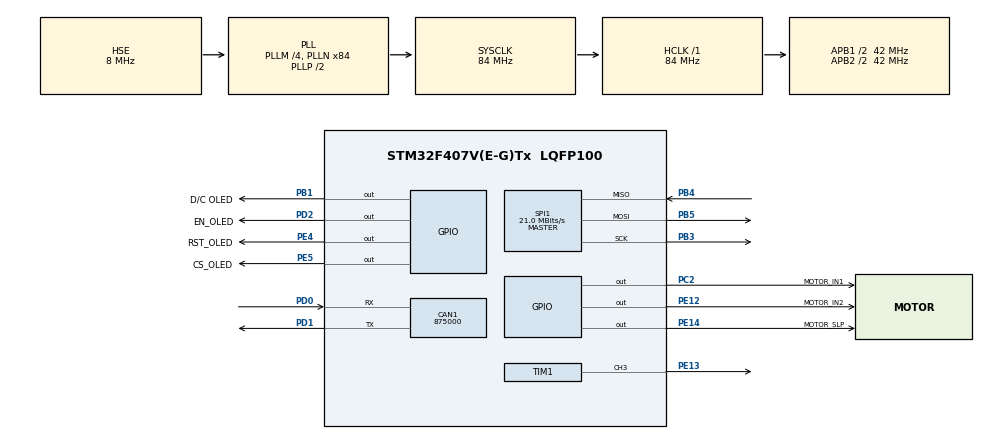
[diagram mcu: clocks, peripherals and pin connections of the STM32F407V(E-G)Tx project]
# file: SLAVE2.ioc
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CAN1.CalculateBaudRate=875000
CAN1.CalculateTimeBit=1142
CAN1.CalculateTimeQuantum=380.95238095238096
Mcu.Family=STM32F4
Mcu.Name=STM32F407V(E-G)Tx
Mcu.Package=LQFP100
NVIC.CAN1_RX0_IRQn=true\:0\:0\:false\:false\:true\:true\:true\:true
NVIC.PriorityGroup=NVIC_PRIORITYGROUP_4
PA13.Mode=Serial_Wire
PA13.Signal=SYS_JTMS-SWDIO
PA14.Mode=Serial_Wire
PA14.Signal=SYS_JTCK-SWCLK
PB1.GPIO_Label=D/C OLED
PB1.Signal=GPIO_Output
PB3.Mode=Full_Duplex_Master
PB3.Signal=SPI1_SCK
PB4.Mode=Full_Duplex_Master
PB4.Signal=SPI1_MISO
PB5.Mode=Full_Duplex_Master
PB5.Signal=SPI1_MOSI
PC2.GPIO_Label=MOTOR_IN1
PC2.GPIO_Speed=GPIO_SPEED_FREQ_VERY_HIGH
PC2.Signal=GPIO_Output
PD0.Mode=CAN_Activate
PD0.Signal=CAN1_RX
PD1.Mode=CAN_Activate
PD1.Signal=CAN1_TX
PD2.GPIO_Label=EN_OLED
PD2.Signal=GPIO_Output
PE12.GPIO_Label=MOTOR_IN2
PE12.GPIO_Speed=GPIO_SPEED_FREQ_VERY_HIGH
PE12.Signal=GPIO_Output
PE13.Signal=S_TIM1_CH3
PE14.GPIO_Label=MOTOR_SLP
PE14.GPIO_Speed=GPIO_SPEED_FREQ_VERY_HIGH
PE14.PinState=GPIO_PIN_RESET
PE14.Signal=GPIO_Output
PE4.GPIO_Label=RST_OLED
PE4.Signal=GPIO_Output
PE5.GPIO_Label=CS_OLED
PE5.Signal=GPIO_Output
PH0-OSC_IN.Mode=HSE-External-Oscillator
PH0-OSC_IN.Signal=RCC_OSC_IN
PH1-OSC_OUT.Mode=HSE-External-Oscillator
PH1-OSC_OUT.Signal=RCC_OSC_OUT
ProjectManager.HeapSize=0x200
ProjectManager.StackSize=0x400
ProjectManager.TargetToolchain=STM32CubeIDE
RCC.48MHZClocksFreq_Value=42000000
RCC.AHBFreq_Value=84000000
RCC.APB1CLKDivider=RCC_HCLK_DIV2
RCC.APB1Freq_Value=42000000
RCC.APB1TimFreq_Value=84000000
RCC.APB2CLKDivider=RCC_HCLK_DIV2
RCC.APB2Freq_Value=42000000
RCC.APB2TimFreq_Value=84000000
RCC.CortexFreq_Value=84000000
RCC.HCLKFreq_Value=84000000
RCC.HSE_VALUE=8000000
RCC.HSI_VALUE=16000000
RCC.LSE_VALUE=32768
RCC.PLLM=4
RCC.PLLN=84
RCC.PLLSourceVirtual=RCC_PLLSOURCE_HSE
RCC.SYSCLKFreq_VALUE=84000000
RCC.SYSCLKSource=RCC_SYSCLKSOURCE_PLLCLK
RCC.VCOOutputFreq_Value=168000000
SH.S_TIM1_CH3.0=TIM1_CH3,PWM Generation3 CH3
SPI1.CLKPhase=SPI_PHASE_2EDGE
SPI1.CLKPolarity=SPI_POLARITY_HIGH
SPI1.CalculateBaudRate=21.0 MBits/s
SPI1.Direction=SPI_DIRECTION_2LINES
SPI1.Mode=SPI_MODE_MASTER
SPI1.VirtualType=VM_MASTER
TIM1.AutoReloadPreload=TIM_AUTORELOAD_PRELOAD_ENABLE
TIM1.Channel-PWM\ Generation3\ CH3=TIM_CHANNEL_3
TIM1.Period=49
TIM1.Prescaler=83
VP_TIM1_VS_ClockSourceINT.Mode=Internal
board=custom

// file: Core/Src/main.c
/* USER CODE BEGIN Header */
/**
  ******************************************************************************
  * @file           : main.c
  * @brief          : Main program body
  ******************************************************************************
  * @attention
  *
  * Copyright (c) 2025 STMicroelectronics.
  * All rights reserved.
  *
  * This software is licensed under terms that can be found in the LICENSE file
  * in the root directory of this software component.
  * If no LICENSE file comes with this software, it is provided AS-IS.
  *
  ******************************************************************************
  */
/* USER CODE END Header */
#include "main.h"

/* USER CODE BEGIN PD */
#define CAN_ID_CURRENT 0x123
#define CAN_ID_SPEED   0x124

#define BLACK   0x0000
#define WHITE   0xFFFF
#define RED     0xF800
#define GREEN   0x07E0
#define BLUE    0x001F
#define YELLOW  0xFFE0
/* USER CODE END PD */

CAN_HandleTypeDef hcan1;

SPI_HandleTypeDef hspi1;

TIM_HandleTypeDef htim1;

/* USER CODE BEGIN PV */
volatile int16_t g_current_mA = 0;
volatile uint8_t g_motor_speed_percent = 0;
volatile _Bool g_update_display_flag = 0;
/* USER CODE END PV */

void SystemClock_Config(void);
static void MX_GPIO_Init(void);
static void MX_CAN1_Init(void);
static void MX_SPI1_Init(void);
static void MX_TIM1_Init(void);
/* USER CODE BEGIN PFP */
void Update_OLED_Display(void);
static void CAN_Filter_Config(void);
/* USER CODE END PFP */

int main(void)
{

  /* MCU Configuration--------------------------------------------------------*/

  /* Reset of all peripherals, Initializes the Flash interface and the Systick. */
  HAL_Init();

  /* Configure the system clock */
  SystemClock_Config();

  /* Initialize all configured peripherals */
  MX_GPIO_Init();
  MX_CAN1_Init();
  MX_SPI1_Init();
  MX_TIM1_Init();
  /* USER CODE BEGIN 2 */
  // --- Iniciar Periféricos ---
  HAL_TIM_PWM_Start(&htim1, TIM_CHANNEL_3);
  CAN_Filter_Config();
  HAL_CAN_Start(&hcan1);
  HAL_CAN_ActivateNotification(&hcan1, CAN_IT_RX_FIFO0_MSG_PENDING);

  // --- Activar Driver y Pantalla ---
  HAL_GPIO_WritePin(EN_OLED_GPIO_Port, EN_OLED_Pin, GPIO_PIN_SET);
  HAL_GPIO_WritePin(MOTOR_SLP_GPIO_Port, MOTOR_SLP_Pin, GPIO_PIN_SET);
  HAL_GPIO_WritePin(MOTOR_IN1_GPIO_Port, MOTOR_IN1_Pin, GPIO_PIN_SET);
  HAL_GPIO_WritePin(MOTOR_IN2_GPIO_Port, MOTOR_IN2_Pin, GPIO_PIN_RESET);

  // --- Inicializar Pantalla ---
  SSD1351_Init();
  SSD1351_Clear();
  SSD1351_DrawText(5, 50, "ESCLAVO LISTO", YELLOW, BLACK, 1);
  SSD1351_DrawText(15, 65, "Esperando CAN...", WHITE, BLACK, 1);
  HAL_Delay(1500);
  /* USER CODE END 2 */

  /* Infinite loop */
  while (1)
  {

    /* USER CODE BEGIN 3 */
    if (g_update_display_flag)
    {
        Update_OLED_Display();
        g_update_display_flag = 0;
    }
  }
  /* USER CODE END 3 */
}

void SystemClock_Config(void)
{
  RCC_OscInitTypeDef RCC_OscInitStruct = {0};
  RCC_ClkInitTypeDef RCC_ClkInitStruct = {0};

  /** Configure the main internal regulator output voltage
  */
  __HAL_RCC_PWR_CLK_ENABLE();
  __HAL_PWR_VOLTAGESCALING_CONFIG(PWR_REGULATOR_VOLTAGE_SCALE1);

  /** Initializes the RCC Oscillators according to the specified parameters
  * in the RCC_OscInitTypeDef structure.
  */
  RCC_OscInitStruct.OscillatorType = RCC_OSCILLATORTYPE_HSE;
  RCC_OscInitStruct.HSEState = RCC_HSE_ON;
  RCC_OscInitStruct.PLL.PLLState = RCC_PLL_ON;
  RCC_OscInitStruct.PLL.PLLSource = RCC_PLLSOURCE_HSE;
  RCC_OscInitStruct.PLL.PLLM = 4;
  RCC_OscInitStruct.PLL.PLLN = 84;
  RCC_OscInitStruct.PLL.PLLP = RCC_PLLP_DIV2;
  RCC_OscInitStruct.PLL.PLLQ = 4;
  if (HAL_RCC_OscConfig(&RCC_OscInitStruct) != HAL_OK)
  {
    Error_Handler();
  }

  /** Initializes the CPU, AHB and APB buses clocks
  */
  RCC_ClkInitStruct.ClockType = RCC_CLOCKTYPE_HCLK|RCC_CLOCKTYPE_SYSCLK
                              |RCC_CLOCKTYPE_PCLK1|RCC_CLOCKTYPE_PCLK2;
  RCC_ClkInitStruct.SYSCLKSource = RCC_SYSCLKSOURCE_PLLCLK;
  RCC_ClkInitStruct.AHBCLKDivider = RCC_SYSCLK_DIV1;
  RCC_ClkInitStruct.APB1CLKDivider = RCC_HCLK_DIV2;
  RCC_ClkInitStruct.APB2CLKDivider = RCC_HCLK_DIV2;

  if (HAL_RCC_ClockConfig(&RCC_ClkInitStruct, FLASH_LATENCY_2) != HAL_OK)
  {
    Error_Handler();
  }
}

static void MX_CAN1_Init(void)
{

	  hcan1.Instance = CAN1;
	  hcan1.Init.Prescaler = 12;
	  hcan1.Init.Mode = CAN_MODE_NORMAL;
	  hcan1.Init.SyncJumpWidth = CAN_SJW_1TQ;
	  hcan1.Init.TimeSeg1 = CAN_BS1_11TQ;
	  hcan1.Init.TimeSeg2 = CAN_BS2_2TQ;
  hcan1.Init.TimeTriggeredMode = DISABLE;
  hcan1.Init.AutoBusOff = DISABLE;
  hcan1.Init.AutoWakeUp = DISABLE;
  hcan1.Init.AutoRetransmission = DISABLE;
  hcan1.Init.ReceiveFifoLocked = DISABLE;
  hcan1.Init.TransmitFifoPriority = DISABLE;
  if (HAL_CAN_Init(&hcan1) != HAL_OK)
  {
    Error_Handler();
  }

}

static void MX_SPI1_Init(void)
{

  /* SPI1 parameter configuration*/
  hspi1.Instance = SPI1;
  hspi1.Init.Mode = SPI_MODE_MASTER;
  hspi1.Init.Direction = SPI_DIRECTION_2LINES;
  hspi1.Init.DataSize = SPI_DATASIZE_8BIT;
  hspi1.Init.CLKPolarity = SPI_POLARITY_HIGH;
  hspi1.Init.CLKPhase = SPI_PHASE_2EDGE;
  hspi1.Init.NSS = SPI_NSS_SOFT;
  hspi1.Init.BaudRatePrescaler = SPI_BAUDRATEPRESCALER_2;
  hspi1.Init.FirstBit = SPI_FIRSTBIT_MSB;
  hspi1.Init.TIMode = SPI_TIMODE_DISABLE;
  hspi1.Init.CRCCalculation = SPI_CRCCALCULATION_DISABLE;
  hspi1.Init.CRCPolynomial = 10;
  if (HAL_SPI_Init(&hspi1) != HAL_OK)
  {
    Error_Handler();
  }

}

static void MX_TIM1_Init(void)
{

  TIM_ClockConfigTypeDef sClockSourceConfig = {0};
  TIM_MasterConfigTypeDef sMasterConfig = {0};
  TIM_OC_InitTypeDef sConfigOC = {0};
  TIM_BreakDeadTimeConfigTypeDef sBreakDeadTimeConfig = {0};

  htim1.Instance = TIM1;
  htim1.Init.Prescaler = 83;
  htim1.Init.CounterMode = TIM_COUNTERMODE_UP;
  htim1.Init.Period = 49;
  htim1.Init.ClockDivision = TIM_CLOCKDIVISION_DIV1;
  htim1.Init.RepetitionCounter = 0;
  htim1.Init.AutoReloadPreload = TIM_AUTORELOAD_PRELOAD_ENABLE;
  if (HAL_TIM_Base_Init(&htim1) != HAL_OK)
  {
    Error_Handler();
  }
  sClockSourceConfig.ClockSource = TIM_CLOCKSOURCE_INTERNAL;
  if (HAL_TIM_ConfigClockSource(&htim1, &sClockSourceConfig) != HAL_OK)
  {
    Error_Handler();
  }
  if (HAL_TIM_PWM_Init(&htim1) != HAL_OK)
  {
    Error_Handler();
  }
  sMasterConfig.MasterOutputTrigger = TIM_TRGO_RESET;
  sMasterConfig.MasterSlaveMode = TIM_MASTERSLAVEMODE_DISABLE;
  if (HAL_TIMEx_MasterConfigSynchronization(&htim1, &sMasterConfig) != HAL_OK)
  {
    Error_Handler();
  }
  sConfigOC.OCMode = TIM_OCMODE_PWM1;
  sConfigOC.Pulse = 0;
  sConfigOC.OCPolarity = TIM_OCPOLARITY_HIGH;
  sConfigOC.OCNPolarity = TIM_OCNPOLARITY_HIGH;
  sConfigOC.OCFastMode = TIM_OCFAST_DISABLE;
  sConfigOC.OCIdleState = TIM_OCIDLESTATE_RESET;
  sConfigOC.OCNIdleState = TIM_OCNIDLESTATE_RESET;
  if (HAL_TIM_PWM_ConfigChannel(&htim1, &sConfigOC, TIM_CHANNEL_3) != HAL_OK)
  {
    Error_Handler();
  }
  sBreakDeadTimeConfig.OffStateRunMode = TIM_OSSR_DISABLE;
  sBreakDeadTimeConfig.OffStateIDLEMode = TIM_OSSI_DISABLE;
  sBreakDeadTimeConfig.LockLevel = TIM_LOCKLEVEL_OFF;
  sBreakDeadTimeConfig.DeadTime = 0;
  sBreakDeadTimeConfig.BreakState = TIM_BREAK_DISABLE;
  sBreakDeadTimeConfig.BreakPolarity = TIM_BREAKPOLARITY_HIGH;
  sBreakDeadTimeConfig.AutomaticOutput = TIM_AUTOMATICOUTPUT_DISABLE;
  if (HAL_TIMEx_ConfigBreakDeadTime(&htim1, &sBreakDeadTimeConfig) != HAL_OK)
  {
    Error_Handler();
  }
  HAL_TIM_MspPostInit(&htim1);

}

static void MX_GPIO_Init(void)
{
  GPIO_InitTypeDef GPIO_InitStruct = {0};

  /* GPIO Ports Clock Enable */
  __HAL_RCC_GPIOE_CLK_ENABLE();
  __HAL_RCC_GPIOH_CLK_ENABLE();
  __HAL_RCC_GPIOC_CLK_ENABLE();
  __HAL_RCC_GPIOB_CLK_ENABLE();
  __HAL_RCC_GPIOA_CLK_ENABLE();
  __HAL_RCC_GPIOD_CLK_ENABLE();

  /*Configure GPIO pin Output Level */
  HAL_GPIO_WritePin(GPIOE, RST_OLED_Pin|CS_OLED_Pin|MOTOR_IN2_Pin|MOTOR_SLP_Pin, GPIO_PIN_RESET);

  /*Configure GPIO pin Output Level */
  HAL_GPIO_WritePin(MOTOR_IN1_GPIO_Port, MOTOR_IN1_Pin, GPIO_PIN_RESET);

  /*Configure GPIO pin Output Level */
  HAL_GPIO_WritePin(D_C_OLED_GPIO_Port, D_C_OLED_Pin, GPIO_PIN_RESET);

  /*Configure GPIO pin Output Level */
  HAL_GPIO_WritePin(EN_OLED_GPIO_Port, EN_OLED_Pin, GPIO_PIN_RESET);

  /*Configure GPIO pins : RST_OLED_Pin CS_OLED_Pin */
  GPIO_InitStruct.Pin = RST_OLED_Pin|CS_OLED_Pin;
  GPIO_InitStruct.Mode = GPIO_MODE_OUTPUT_PP;
  GPIO_InitStruct.Pull = GPIO_NOPULL;
  GPIO_InitStruct.Speed = GPIO_SPEED_FREQ_LOW;
  HAL_GPIO_Init(GPIOE, &GPIO_InitStruct);

  /*Configure GPIO pin : MOTOR_IN1_Pin */
  GPIO_InitStruct.Pin = MOTOR_IN1_Pin;
  GPIO_InitStruct.Mode = GPIO_MODE_OUTPUT_PP;
  GPIO_InitStruct.Pull = GPIO_NOPULL;
  GPIO_InitStruct.Speed = GPIO_SPEED_FREQ_VERY_HIGH;
  HAL_GPIO_Init(MOTOR_IN1_GPIO_Port, &GPIO_InitStruct);

  /*Configure GPIO pin : D_C_OLED_Pin */
  GPIO_InitStruct.Pin = D_C_OLED_Pin;
  GPIO_InitStruct.Mode = GPIO_MODE_OUTPUT_PP;
  GPIO_InitStruct.Pull = GPIO_NOPULL;
  GPIO_InitStruct.Speed = GPIO_SPEED_FREQ_LOW;
  HAL_GPIO_Init(D_C_OLED_GPIO_Port, &GPIO_InitStruct);

  /*Configure GPIO pins : MOTOR_IN2_Pin MOTOR_SLP_Pin */
  GPIO_InitStruct.Pin = MOTOR_IN2_Pin|MOTOR_SLP_Pin;
  GPIO_InitStruct.Mode = GPIO_MODE_OUTPUT_PP;
  GPIO_InitStruct.Pull = GPIO_NOPULL;
  GPIO_InitStruct.Speed = GPIO_SPEED_FREQ_VERY_HIGH;
  HAL_GPIO_Init(GPIOE, &GPIO_InitStruct);

  /*Configure GPIO pin : EN_OLED_Pin */
  GPIO_InitStruct.Pin = EN_OLED_Pin;
  GPIO_InitStruct.Mode = GPIO_MODE_OUTPUT_PP;
  GPIO_InitStruct.Pull = GPIO_NOPULL;
  GPIO_InitStruct.Speed = GPIO_SPEED_FREQ_LOW;
  HAL_GPIO_Init(EN_OLED_GPIO_Port, &GPIO_InitStruct);

}

/* USER CODE BEGIN 4 */
static void CAN_Filter_Config(void)
{
  CAN_FilterTypeDef canfilterconfig;
  canfilterconfig.FilterActivation = CAN_FILTER_ENABLE;
  canfilterconfig.FilterBank = 0;
  canfilterconfig.FilterFIFOAssignment = CAN_RX_FIFO0;
  canfilterconfig.FilterMode = CAN_FILTERMODE_IDLIST;
  canfilterconfig.FilterScale = CAN_FILTERSCALE_32BIT;
  canfilterconfig.SlaveStartFilterBank = 14;
  canfilterconfig.FilterIdHigh = CAN_ID_CURRENT << 5;
  canfilterconfig.FilterIdLow = 0x0000;
  canfilterconfig.FilterMaskIdHigh = CAN_ID_SPEED << 5;
  canfilterconfig.FilterMaskIdLow = 0x0000;
  if(HAL_CAN_ConfigFilter(&hcan1, &canfilterconfig) != HAL_OK) { Error_Handler(); }
}

void HAL_CAN_RxFifo0MsgPendingCallback(CAN_HandleTypeDef *hcan)
{
    CAN_RxHeaderTypeDef RxHeader;
    uint8_t RxData[8];
    if (HAL_CAN_GetRxMessage(hcan, CAN_RX_FIFO0, &RxHeader, RxData) == HAL_OK)
    {
        if (RxHeader.StdId == CAN_ID_CURRENT && RxHeader.DLC == 2)
        {
            g_current_mA = (int16_t)((RxData[0] << 8) | RxData[1]);
        }
        else if (RxHeader.StdId == CAN_ID_SPEED && RxHeader.DLC == 1)
        {
            g_motor_speed_percent = RxData[0];
            if (g_motor_speed_percent > 100) g_motor_speed_percent = 100;
            uint32_t pulse_value = (uint32_t)(g_motor_speed_percent * 49) / 100;
            __HAL_TIM_SET_COMPARE(&htim1, TIM_CHANNEL_3, pulse_value);
        }
        g_update_display_flag = 1;
    }
}

void Update_OLED_Display(void)
{
    char buffer[24];
    float estimated_rpm = (g_motor_speed_percent / 100.0f) * 60.0f;
    SSD1351_Clear();
    snprintf(buffer, sizeof(buffer), "I: %.2f A", g_current_mA / 1000.0f);
    SSD1351_DrawText(10, 10, buffer, GREEN, BLACK, 2);
    snprintf(buffer, sizeof(buffer), "Vel: %d %%", g_motor_speed_percent);
    SSD1351_DrawText(10, 40, buffer, BLUE, BLACK, 2);
    snprintf(buffer, sizeof(buffer), "RPM: %.1f", estimated_rpm);
    SSD1351_DrawText(10, 70, buffer, WHITE, BLACK, 2);
}
/* USER CODE END 4 */

void Error_Handler(void)
{
  __disable_irq();
  while (1)
  {
  }
}
